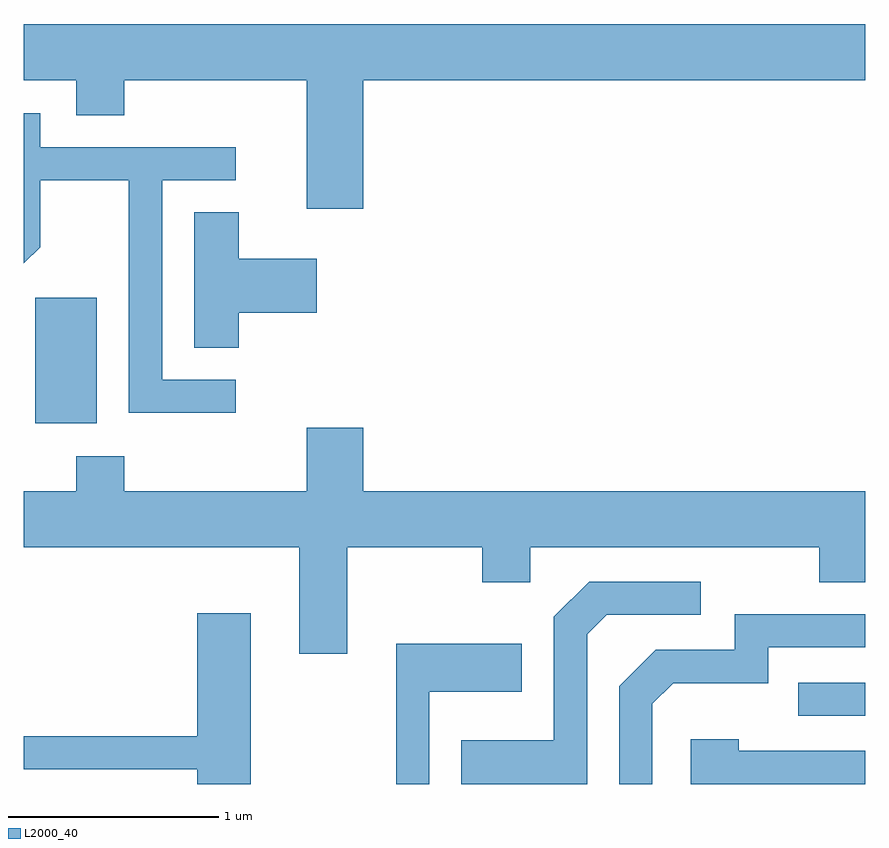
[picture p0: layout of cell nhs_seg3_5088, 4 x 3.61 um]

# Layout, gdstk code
import gdstk
lib = gdstk.Library(unit=1e-6, precision=1e-09)
def R(c, l, rs):  # rectangles x0, y0, x1, y1
    for r in rs: c.add(gdstk.rectangle(r[:2], r[2:], *l))
def P(c, l, *ps):  # polygons
    for p in ps: c.add(gdstk.Polygon(p, *l))
L2000_40 = (2000, 40)

nhs_seg3_5088 = lib.new_cell('nhs_seg3_5088')
R(nhs_seg3_5088, L2000_40, [(337.293,1236.216,337.611,1236.374), (333.666,1237.606,333.959,1238.204)])
P(nhs_seg3_5088, L2000_40, [(335.224,1239.236),(337.611,1239.236),(337.611,1239.504),(333.611,1239.504),(333.611,1239.236),(333.861,1239.236),(333.861,1239.071),(334.089,1239.071),(334.089,1239.236),(334.956,1239.236),(334.956,1238.626),(335.224,1238.626)],
  [(334.618,1237.814),(334.269,1237.814),(334.269,1238.761),(334.618,1238.761),(334.618,1238.919),(333.689,1238.919),(333.689,1239.079),(333.611,1239.079),(333.611,1238.366),(333.689,1238.444),(333.689,1238.761),(334.111,1238.761),(334.111,1237.656),(334.618,1237.656)],
  [(334.634,1238.131),(335.004,1238.131),(335.004,1238.389),(334.634,1238.389),(334.634,1238.609),(334.421,1238.609),(334.421,1237.966),(334.634,1237.966)],
  [(335.149,1237.016),(335.791,1237.016),(335.791,1236.851),(336.019,1236.851),(336.019,1237.016),(337.391,1237.016),(337.391,1236.851),(337.611,1236.851),(337.611,1237.284),(335.224,1237.284),(335.224,1237.584),(334.956,1237.584),(334.956,1237.284),(334.089,1237.284),(334.089,1237.449),(333.861,1237.449),(333.861,1237.284),(333.611,1237.284),(333.611,1237.016),(334.921,1237.016),(334.921,1236.511),(335.149,1236.511)],
  [(336.289,1236.604),(336.382,1236.696),(336.828,1236.696),(336.828,1236.854),(336.299,1236.854),(336.131,1236.687),(336.131,1236.099),(335.691,1236.099),(335.691,1235.892),(336.289,1235.892)],
  [(334.689,1236.704),(334.436,1236.704),(334.436,1236.119),(333.611,1236.119),(333.611,1235.961),(334.436,1235.961),(334.436,1235.892),(334.689,1235.892)],
  [(336.599,1236.274),(336.697,1236.371),(337.149,1236.371),(337.149,1236.541),(337.611,1236.541),(337.611,1236.699),(336.991,1236.699),(336.991,1236.529),(336.614,1236.529),(336.441,1236.357),(336.441,1235.892),(336.599,1235.892)],
  [(335.539,1236.331),(335.979,1236.331),(335.979,1236.559),(335.381,1236.559),(335.381,1235.892),(335.539,1235.892)],
  [(337.611,1236.049),(337.009,1236.049),(337.009,1236.104),(336.781,1236.104),(336.781,1235.892),(337.611,1235.892)])

lib.write_gds('nhs_seg3_5088.gds')
